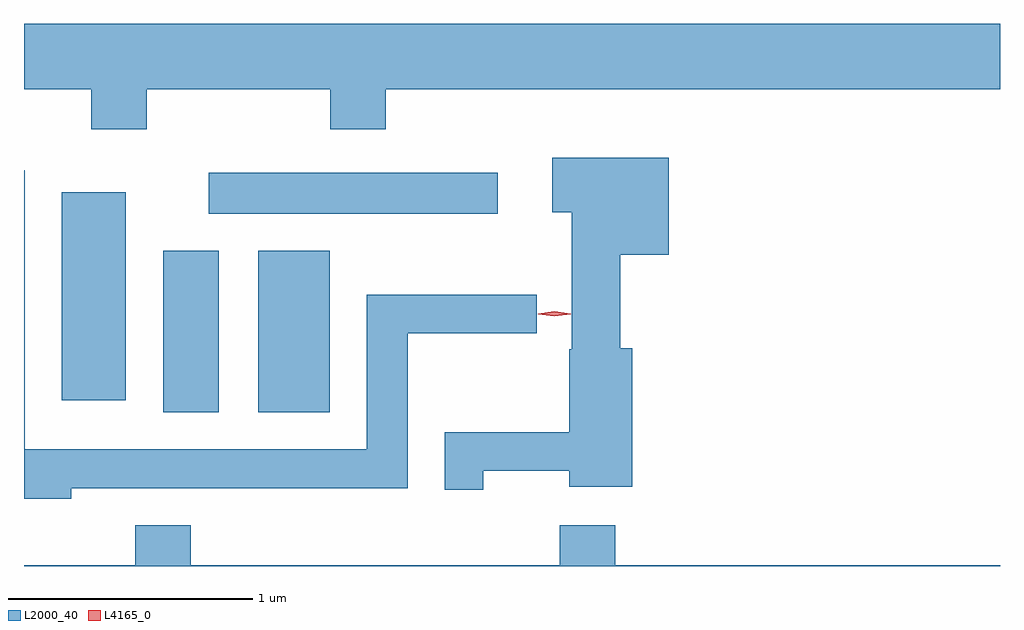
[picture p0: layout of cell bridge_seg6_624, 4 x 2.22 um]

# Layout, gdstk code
import gdstk
lib = gdstk.Library(unit=1e-6, precision=1e-09)
def R(c, l, rs):  # rectangles x0, y0, x1, y1
    for r in rs: c.add(gdstk.rectangle(r[:2], r[2:], *l))
def P(c, l, *ps):  # polygons
    for p in ps: c.add(gdstk.Polygon(p, *l))
L2000_40 = (2000, 40)
L4165_0 = (4165, 0)

bridge_seg6_624 = lib.new_cell('bridge_seg6_624')
R(bridge_seg6_624, L2000_40, [(389.176,1661.931,389.404,1662.594), (389.566,1661.931,389.859,1662.594), (388.761,1661.981,389.024,1662.834), (389.363,1662.746,390.548,1662.914)])
P(bridge_seg6_624, L2000_40, [(389.109,1663.256),(389.861,1663.256),(389.861,1663.091),(390.089,1663.091),(390.089,1663.256),(392.606,1663.256),(392.606,1663.524),(388.606,1663.524),(388.606,1663.256),(388.881,1663.256),(388.881,1663.091),(389.109,1663.091)],
  [(390.489,1661.691),(390.841,1661.691),(390.841,1661.626),(391.099,1661.626),(391.099,1662.194),(391.049,1662.194),(391.049,1662.576),(391.249,1662.576),(391.249,1662.974),(390.771,1662.974),(390.771,1662.751),(390.851,1662.751),(390.851,1662.19),(390.841,1662.19),(390.841,1661.849),(390.331,1661.849),(390.331,1661.613),(390.489,1661.613)],
  [(388.799,1661.621),(390.179,1661.621),(390.179,1662.256),(390.708,1662.256),(390.708,1662.414),(390.011,1662.414),(390.011,1661.779),(388.609,1661.779),(388.609,1662.924),(388.606,1662.924),(388.606,1661.576),(388.799,1661.576)],
  [(392.606,1661.304),(391.029,1661.304),(391.029,1661.469),(390.801,1661.469),(390.801,1661.304),(389.289,1661.304),(389.289,1661.469),(389.061,1661.469),(389.061,1661.304),(388.606,1661.304),(388.606,1661.3),(392.606,1661.3)])
P(bridge_seg6_624, L4165_0, [(390.78,1662.325),(390.713,1662.334),(390.713,1662.335),(390.713,1662.336),(390.78,1662.345),(390.846,1662.336),(390.846,1662.335),(390.846,1662.334)])

lib.write_gds('bridge_seg6_624.gds')
